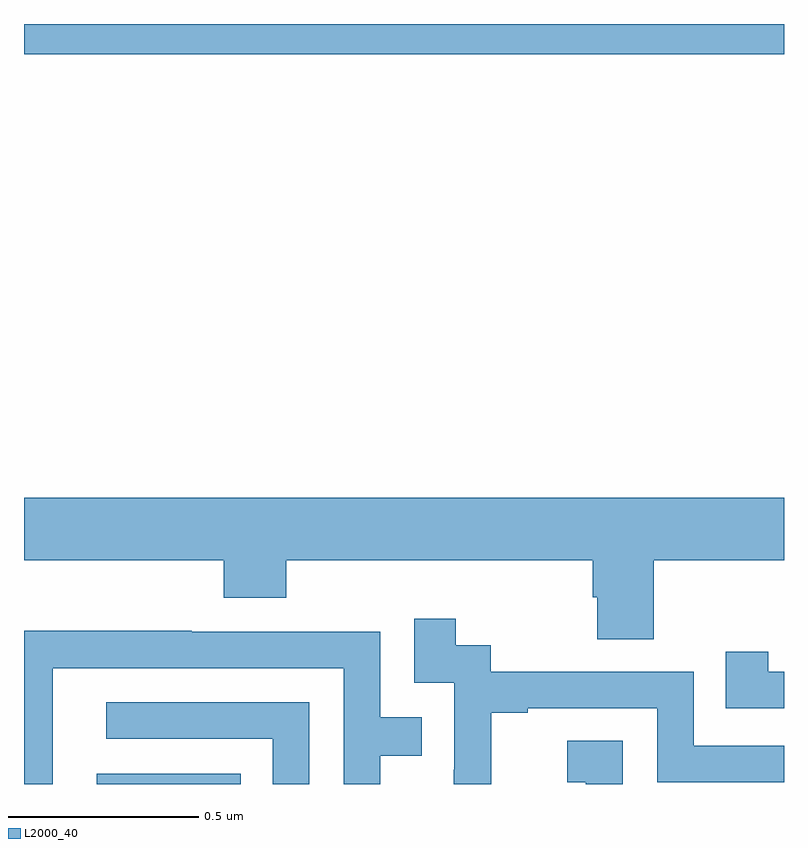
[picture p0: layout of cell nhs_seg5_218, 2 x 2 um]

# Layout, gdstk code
import gdstk
lib = gdstk.Library(unit=1e-6, precision=1e-09)
def R(c, l, rs):  # rectangles x0, y0, x1, y1
    for r in rs: c.add(gdstk.rectangle(r[:2], r[2:], *l))
def P(c, l, *ps):  # polygons
    for p in ps: c.add(gdstk.Polygon(p, *l))
L2000_40 = (2000, 40)

nhs_seg5_218 = lib.new_cell('nhs_seg5_218')
R(nhs_seg5_218, L2000_40, [(113.192,894.799,113.57,894.826), (113,896.72,115,896.799)])
P(nhs_seg5_218, L2000_40, [(114.657,895.388),(115,895.388),(115,895.552),(113,895.552),(113,895.388),(113.525,895.388),(113.525,895.289),(113.69,895.289),(113.69,895.388),(114.497,895.388),(114.497,895.29),(114.509,895.29),(114.509,895.18),(114.657,895.18)],
  [(114.23,894.987),(114.325,894.987),(114.325,894.999),(114.666,894.999),(114.666,894.804),(115,894.804),(115,894.9),(114.762,894.9),(114.762,895.095),(114.228,895.095),(114.228,895.164),(114.136,895.164),(114.136,895.234),(114.027,895.234),(114.027,895.065),(114.132,895.065),(114.132,894.836),(114.131,894.836),(114.131,894.799),(114.23,894.799)],
  [(113.076,895.104),(113.841,895.104),(113.841,894.799),(113.937,894.799),(113.937,894.874),(114.047,894.874),(114.047,894.975),(113.937,894.975),(113.937,895.2),(113.441,895.2),(113.441,895.202),(113,895.202),(113,894.799),(113.076,894.799)],
  [(115,895.095),(114.958,895.095),(114.958,895.147),(114.847,895.147),(114.847,894.999),(115,894.999)],
  [(113.751,895.014),(113.217,895.014),(113.217,894.918),(113.655,894.918),(113.655,894.799),(113.751,894.799)],
  [(114.576,894.913),(114.429,894.913),(114.429,894.803),(114.478,894.803),(114.478,894.799),(114.576,894.799)])

lib.write_gds('nhs_seg5_218.gds')
